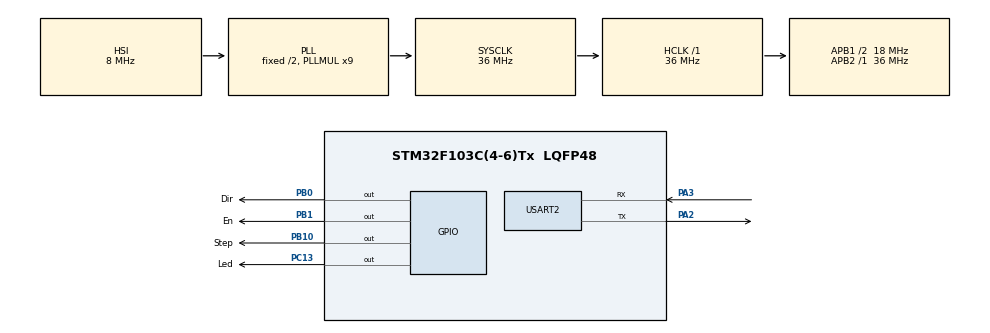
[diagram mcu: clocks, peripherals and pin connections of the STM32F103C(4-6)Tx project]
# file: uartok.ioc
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Mcu.Family=STM32F1
Mcu.Name=STM32F103C(4-6)Tx
Mcu.Package=LQFP48
NVIC.PriorityGroup=NVIC_PRIORITYGROUP_4
NVIC.RCC_IRQn=true\:0\:0\:false\:false\:true\:true\:false\:true
NVIC.USART2_IRQn=true\:0\:0\:false\:false\:true\:true\:true\:true
PA13.Mode=Serial_Wire
PA13.Signal=SYS_JTMS-SWDIO
PA14.Mode=Serial_Wire
PA14.Signal=SYS_JTCK-SWCLK
PA2.Mode=Asynchronous
PA2.Signal=USART2_TX
PA3.Mode=Asynchronous
PA3.Signal=USART2_RX
PB0.GPIO_Label=Dir
PB0.Signal=GPIO_Output
PB1.GPIO_Label=En
PB1.Signal=GPIO_Output
PB10.GPIO_Label=Step
PB10.Signal=GPIO_Output
PC13-TAMPER-RTC.GPIO_Label=Led
PC13-TAMPER-RTC.Signal=GPIO_Output
ProjectManager.HeapSize=0x200
ProjectManager.StackSize=0x400
ProjectManager.TargetToolchain=STM32CubeIDE
RCC.AHBFreq_Value=36000000
RCC.APB1CLKDivider=RCC_HCLK_DIV2
RCC.APB1Freq_Value=18000000
RCC.APB1TimFreq_Value=36000000
RCC.APB2Freq_Value=36000000
RCC.APB2TimFreq_Value=36000000
RCC.HCLKFreq_Value=36000000
RCC.PLLMUL=RCC_PLL_MUL9
RCC.SYSCLKFreq_VALUE=36000000
RCC.SYSCLKSource=RCC_SYSCLKSOURCE_PLLCLK
RCC.USBFreq_Value=36000000
USART2.VirtualMode=VM_ASYNC
board=custom

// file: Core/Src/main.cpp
/* USER CODE BEGIN Header */
/**
 ******************************************************************************
 * @file           : main.c
 * @brief          : Main program body
 ******************************************************************************
 * @attention
 *
 * Copyright (c) 2023 STMicroelectronics.
 * All rights reserved.
 *
 * This software is licensed under terms that can be found in the LICENSE file
 * in the root directory of this software component.
 * If no LICENSE file comes with this software, it is provided AS-IS.
 *
 ******************************************************************************
 */
/* USER CODE END Header */
#include "main.h"

/* USER CODE BEGIN Includes */

#include "TMC2209.h"
/* USER CODE END Includes */

UART_HandleTypeDef huart2;

void SystemClock_Config(void);
static void MX_GPIO_Init(void);
static void MX_USART2_UART_Init(void);

int main(void)
{

  /* MCU Configuration--------------------------------------------------------*/

  /* Reset of all peripherals, Initializes the Flash interface and the Systick. */
  HAL_Init();

  /* Configure the system clock */
  SystemClock_Config();

  /* USER CODE BEGIN SysInit */
  DWT_Delay_Init();
  /* USER CODE END SysInit */

  /* Initialize all configured peripherals */
  MX_GPIO_Init();
  MX_USART2_UART_Init();
  /* USER CODE BEGIN 2 */

  	HAL_UART_Init(&huart2);
    HAL_GPIO_WritePin(En_GPIO_Port, En_Pin, GPIO_PIN_RESET);
	HAL_GPIO_WritePin(Dir_GPIO_Port, Dir_Pin, GPIO_PIN_SET);
	HAL_GPIO_WritePin(Led_GPIO_Port, Led_Pin, GPIO_PIN_RESET);
	HAL_Delay(500);
	HAL_GPIO_WritePin(Led_GPIO_Port, Led_Pin, GPIO_PIN_SET);
	HAL_Delay(500);

	TMC2209 tmcd;
	tmcd.setup(&huart2, 115200, tmcd.SERIAL_ADDRESS_3);
	tmcd.enable();

	bool communication = false;

  /* USER CODE END 2 */

  /* Infinite loop */
  /* USER CODE BEGIN WHILE */
	while (1) {
//		HAL_GPIO_WritePin(En_GPIO_Port, En_Pin, GPIO_PIN_RESET);
//		for(uint32_t i=0; i<=2000; i++) {
//
//			HAL_GPIO_WritePin(Step_GPIO_Port, Step_Pin, GPIO_PIN_RESET);
//			HAL_GPIO_WritePin(Led_GPIO_Port, Led_Pin, GPIO_PIN_RESET);
//			HAL_Delay(1);
//
//			HAL_GPIO_WritePin(Step_GPIO_Port, Step_Pin, GPIO_PIN_SET);
//			HAL_GPIO_WritePin(Led_GPIO_Port, Led_Pin, GPIO_PIN_SET);
//			HAL_Delay(1);
//
//		}
//		HAL_GPIO_WritePin(En_GPIO_Port, En_Pin, GPIO_PIN_SET);
//
		communication = tmcd.isCommunicating();
//		bool issetup=tmcd.isSetupAndCommunicating();
//		bool isnotsetup=tmcd.isCommunicatingButNotSetup();
		uint8_t version=tmcd.getVersion();
		TMC2209::Settings settings = tmcd.getSettings();
		if (communication) {
			for(int i=0; i<=20; i++){
				HAL_GPIO_TogglePin(Led_GPIO_Port, Led_Pin);
				DWT_Delay_ms(500);
			}
		}
		HAL_GPIO_TogglePin(Led_GPIO_Port, Led_Pin);
		DWT_Delay_ms(500);
	//	HAL_Delay(1000);
    /* USER CODE END WHILE */

	}
}

void SystemClock_Config(void)
{
  RCC_OscInitTypeDef RCC_OscInitStruct = {0};
  RCC_ClkInitTypeDef RCC_ClkInitStruct = {0};

  /** Initializes the RCC Oscillators according to the specified parameters
  * in the RCC_OscInitTypeDef structure.
  */
  RCC_OscInitStruct.OscillatorType = RCC_OSCILLATORTYPE_HSI;
  RCC_OscInitStruct.HSIState = RCC_HSI_ON;
  RCC_OscInitStruct.HSICalibrationValue = RCC_HSICALIBRATION_DEFAULT;
  RCC_OscInitStruct.PLL.PLLState = RCC_PLL_ON;
  RCC_OscInitStruct.PLL.PLLSource = RCC_PLLSOURCE_HSI_DIV2;
  RCC_OscInitStruct.PLL.PLLMUL = RCC_PLL_MUL9;
  if (HAL_RCC_OscConfig(&RCC_OscInitStruct) != HAL_OK)
  {
    Error_Handler();
  }

  /** Initializes the CPU, AHB and APB buses clocks
  */
  RCC_ClkInitStruct.ClockType = RCC_CLOCKTYPE_HCLK|RCC_CLOCKTYPE_SYSCLK
                              |RCC_CLOCKTYPE_PCLK1|RCC_CLOCKTYPE_PCLK2;
  RCC_ClkInitStruct.SYSCLKSource = RCC_SYSCLKSOURCE_PLLCLK;
  RCC_ClkInitStruct.AHBCLKDivider = RCC_SYSCLK_DIV1;
  RCC_ClkInitStruct.APB1CLKDivider = RCC_HCLK_DIV2;
  RCC_ClkInitStruct.APB2CLKDivider = RCC_HCLK_DIV1;

  if (HAL_RCC_ClockConfig(&RCC_ClkInitStruct, FLASH_LATENCY_1) != HAL_OK)
  {
    Error_Handler();
  }
}

static void MX_USART2_UART_Init(void)
{

  huart2.Instance = USART2;
  huart2.Init.BaudRate = 115200;
  huart2.Init.WordLength = UART_WORDLENGTH_8B;
  huart2.Init.StopBits = UART_STOPBITS_1;
  huart2.Init.Parity = UART_PARITY_NONE;
  huart2.Init.Mode = UART_MODE_TX_RX;
  huart2.Init.HwFlowCtl = UART_HWCONTROL_NONE;
  huart2.Init.OverSampling = UART_OVERSAMPLING_16;
  if (HAL_UART_Init(&huart2) != HAL_OK)
  {
    Error_Handler();
  }

}

static void MX_GPIO_Init(void)
{
  GPIO_InitTypeDef GPIO_InitStruct = {0};

  /* GPIO Ports Clock Enable */
  __HAL_RCC_GPIOC_CLK_ENABLE();
  __HAL_RCC_GPIOA_CLK_ENABLE();
  __HAL_RCC_GPIOB_CLK_ENABLE();

  /*Configure GPIO pin Output Level */
  HAL_GPIO_WritePin(Led_GPIO_Port, Led_Pin, GPIO_PIN_RESET);

  /*Configure GPIO pin Output Level */
  HAL_GPIO_WritePin(GPIOB, Dir_Pin|En_Pin|Step_Pin, GPIO_PIN_RESET);

  /*Configure GPIO pin : Led_Pin */
  GPIO_InitStruct.Pin = Led_Pin;
  GPIO_InitStruct.Mode = GPIO_MODE_OUTPUT_PP;
  GPIO_InitStruct.Pull = GPIO_NOPULL;
  GPIO_InitStruct.Speed = GPIO_SPEED_FREQ_LOW;
  HAL_GPIO_Init(Led_GPIO_Port, &GPIO_InitStruct);

  /*Configure GPIO pins : Dir_Pin En_Pin Step_Pin */
  GPIO_InitStruct.Pin = Dir_Pin|En_Pin|Step_Pin;
  GPIO_InitStruct.Mode = GPIO_MODE_OUTPUT_PP;
  GPIO_InitStruct.Pull = GPIO_NOPULL;
  GPIO_InitStruct.Speed = GPIO_SPEED_FREQ_LOW;
  HAL_GPIO_Init(GPIOB, &GPIO_InitStruct);

}

void Error_Handler(void)
{
	__disable_irq();
	while (1) {
	}
}
